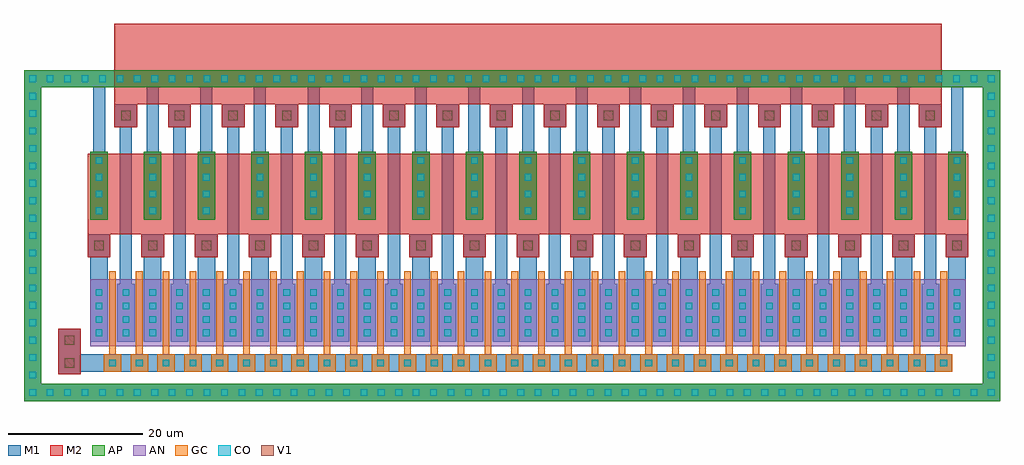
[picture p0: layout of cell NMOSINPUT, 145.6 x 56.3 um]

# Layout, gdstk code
from math import pi, radians
import gdstk
lib = gdstk.Library(unit=1e-6, precision=1e-09)
def R(c, l, rs):  # rectangles x0, y0, x1, y1
    for r in rs: c.add(gdstk.rectangle(r[:2], r[2:], *l))
def A(c, l, x, y, w, h, nx, ny, dx, dy):  # array of equal rectangles
    R(c, l, [(x+i*dx, y+j*dy, x+i*dx+w, y+j*dy+h) for i in range(nx) for j in range(ny)])
AP = (3, 1)
AN = (3, 2)
GC = (8, 1)
CO = (11, 0)
M1 = (13, 0)
V1 = (19, 0)
M2 = (20, 0)

fet_n = lib.new_cell('fet_n')
R(fet_n, AN, [(-65.3,-5,65.3,5)])
A(fet_n, CO, -64.5, -3.5, 1, 1, 33, 4, 4, 2)
A(fet_n, M1, -65.3, -4.3, 2.6, 8.6, 33, 1, 4, 0)
fet_n.add(gdstk.FlexPath([(2,-6.2),(2,6.2)], 1, ends="flush", simple_path=True, layer=8, datatype=1))  # GC
fet_n.add(gdstk.FlexPath([(-2,-6.2),(-2,6.2)], 1, ends="flush", simple_path=True, layer=8, datatype=1))  # GC
fet_n.add(gdstk.FlexPath([(6,-6.2),(6,6.2)], 1, ends="flush", simple_path=True, layer=8, datatype=1))  # GC
fet_n.add(gdstk.FlexPath([(-6,-6.2),(-6,6.2)], 1, ends="flush", simple_path=True, layer=8, datatype=1))  # GC
fet_n.add(gdstk.FlexPath([(10,-6.2),(10,6.2)], 1, ends="flush", simple_path=True, layer=8, datatype=1))  # GC
fet_n.add(gdstk.FlexPath([(-10,-6.2),(-10,6.2)], 1, ends="flush", simple_path=True, layer=8, datatype=1))  # GC
fet_n.add(gdstk.FlexPath([(14,-6.2),(14,6.2)], 1, ends="flush", simple_path=True, layer=8, datatype=1))  # GC
fet_n.add(gdstk.FlexPath([(-14,-6.2),(-14,6.2)], 1, ends="flush", simple_path=True, layer=8, datatype=1))  # GC
fet_n.add(gdstk.FlexPath([(18,-6.2),(18,6.2)], 1, ends="flush", simple_path=True, layer=8, datatype=1))  # GC
fet_n.add(gdstk.FlexPath([(-18,-6.2),(-18,6.2)], 1, ends="flush", simple_path=True, layer=8, datatype=1))  # GC
fet_n.add(gdstk.FlexPath([(22,-6.2),(22,6.2)], 1, ends="flush", simple_path=True, layer=8, datatype=1))  # GC
fet_n.add(gdstk.FlexPath([(-22,-6.2),(-22,6.2)], 1, ends="flush", simple_path=True, layer=8, datatype=1))  # GC
fet_n.add(gdstk.FlexPath([(26,-6.2),(26,6.2)], 1, ends="flush", simple_path=True, layer=8, datatype=1))  # GC
fet_n.add(gdstk.FlexPath([(-26,-6.2),(-26,6.2)], 1, ends="flush", simple_path=True, layer=8, datatype=1))  # GC
fet_n.add(gdstk.FlexPath([(30,-6.2),(30,6.2)], 1, ends="flush", simple_path=True, layer=8, datatype=1))  # GC
fet_n.add(gdstk.FlexPath([(-30,-6.2),(-30,6.2)], 1, ends="flush", simple_path=True, layer=8, datatype=1))  # GC
fet_n.add(gdstk.FlexPath([(34,-6.2),(34,6.2)], 1, ends="flush", simple_path=True, layer=8, datatype=1))  # GC
fet_n.add(gdstk.FlexPath([(-34,-6.2),(-34,6.2)], 1, ends="flush", simple_path=True, layer=8, datatype=1))  # GC
fet_n.add(gdstk.FlexPath([(38,-6.2),(38,6.2)], 1, ends="flush", simple_path=True, layer=8, datatype=1))  # GC
fet_n.add(gdstk.FlexPath([(-38,-6.2),(-38,6.2)], 1, ends="flush", simple_path=True, layer=8, datatype=1))  # GC
fet_n.add(gdstk.FlexPath([(42,-6.2),(42,6.2)], 1, ends="flush", simple_path=True, layer=8, datatype=1))  # GC
fet_n.add(gdstk.FlexPath([(-42,-6.2),(-42,6.2)], 1, ends="flush", simple_path=True, layer=8, datatype=1))  # GC
fet_n.add(gdstk.FlexPath([(46,-6.2),(46,6.2)], 1, ends="flush", simple_path=True, layer=8, datatype=1))  # GC
fet_n.add(gdstk.FlexPath([(-46,-6.2),(-46,6.2)], 1, ends="flush", simple_path=True, layer=8, datatype=1))  # GC
fet_n.add(gdstk.FlexPath([(50,-6.2),(50,6.2)], 1, ends="flush", simple_path=True, layer=8, datatype=1))  # GC
fet_n.add(gdstk.FlexPath([(-50,-6.2),(-50,6.2)], 1, ends="flush", simple_path=True, layer=8, datatype=1))  # GC
fet_n.add(gdstk.FlexPath([(54,-6.2),(54,6.2)], 1, ends="flush", simple_path=True, layer=8, datatype=1))  # GC
fet_n.add(gdstk.FlexPath([(-54,-6.2),(-54,6.2)], 1, ends="flush", simple_path=True, layer=8, datatype=1))  # GC
fet_n.add(gdstk.FlexPath([(58,-6.2),(58,6.2)], 1, ends="flush", simple_path=True, layer=8, datatype=1))  # GC
fet_n.add(gdstk.FlexPath([(-58,-6.2),(-58,6.2)], 1, ends="flush", simple_path=True, layer=8, datatype=1))  # GC
fet_n.add(gdstk.FlexPath([(62,-6.2),(62,6.2)], 1, ends="flush", simple_path=True, layer=8, datatype=1))  # GC
fet_n.add(gdstk.FlexPath([(-62,-6.2),(-62,6.2)], 1, ends="flush", simple_path=True, layer=8, datatype=1))  # GC

via_1 = lib.new_cell('via_1')
R(via_1, M1, [(-1.7,-1.7,1.7,1.7)])
R(via_1, V1, [(-0.7,-0.7,0.7,0.7)])
R(via_1, M2, [(-1.7,-1.7,1.7,1.7)])

cont_p = lib.new_cell('cont_p')
R(cont_p, AP, [(-1.3,-1.3,1.3,1.3)])
R(cont_p, CO, [(-0.5,-0.5,0.5,0.5)])
R(cont_p, M1, [(-1.3,-1.3,1.3,1.3)])

cont_g = lib.new_cell('cont_g')
R(cont_g, GC, [(-1.3,-1.3,1.3,1.3)])
R(cont_g, CO, [(-0.5,-0.5,0.5,0.5)])
R(cont_g, M1, [(-1.3,-1.3,1.3,1.3)])

nmosinput = lib.new_cell('NMOSINPUT')
nmosinput.add(gdstk.FlexPath([(21.8,14.8),(148.4,14.8)], 2.6, ends="flush", simple_path=True, layer=13, datatype=0))  # M1
nmosinput.add(gdstk.FlexPath([(21.1,26.6),(21.1,30.6)], 2.6, ends="flush", simple_path=True, layer=13, datatype=0))  # M1
nmosinput.add(gdstk.FlexPath([(29.1,26.6),(29.1,30.6)], 2.6, ends="flush", simple_path=True, layer=13, datatype=0))  # M1
nmosinput.add(gdstk.FlexPath([(37.1,26.6),(37.1,30.6)], 2.6, ends="flush", simple_path=True, layer=13, datatype=0))  # M1
nmosinput.add(gdstk.FlexPath([(45.1,26.6),(45.1,30.6)], 2.6, ends="flush", simple_path=True, layer=13, datatype=0))  # M1
nmosinput.add(gdstk.FlexPath([(53.1,26.6),(53.1,30.6)], 2.6, ends="flush", simple_path=True, layer=13, datatype=0))  # M1
nmosinput.add(gdstk.FlexPath([(61.1,26.6),(61.1,30.6)], 2.6, ends="flush", simple_path=True, layer=13, datatype=0))  # M1
nmosinput.add(gdstk.FlexPath([(69.1,26.6),(69.1,30.6)], 2.6, ends="flush", simple_path=True, layer=13, datatype=0))  # M1
nmosinput.add(gdstk.FlexPath([(77.1,26.6),(77.1,30.6)], 2.6, ends="flush", simple_path=True, layer=13, datatype=0))  # M1
nmosinput.add(gdstk.FlexPath([(85.1,26.6),(85.1,30.6)], 2.6, ends="flush", simple_path=True, layer=13, datatype=0))  # M1
nmosinput.add(gdstk.FlexPath([(93.1,26.6),(93.1,30.6)], 2.6, ends="flush", simple_path=True, layer=13, datatype=0))  # M1
nmosinput.add(gdstk.FlexPath([(101.1,26.6),(101.1,30.6)], 2.6, ends="flush", simple_path=True, layer=13, datatype=0))  # M1
nmosinput.add(gdstk.FlexPath([(109.1,26.6),(109.1,30.6)], 2.6, ends="flush", simple_path=True, layer=13, datatype=0))  # M1
nmosinput.add(gdstk.FlexPath([(117.1,26.6),(117.1,30.6)], 2.6, ends="flush", simple_path=True, layer=13, datatype=0))  # M1
nmosinput.add(gdstk.FlexPath([(125.1,26.6),(125.1,30.6)], 2.6, ends="flush", simple_path=True, layer=13, datatype=0))  # M1
nmosinput.add(gdstk.FlexPath([(133.1,26.6),(133.1,30.6)], 2.6, ends="flush", simple_path=True, layer=13, datatype=0))  # M1
nmosinput.add(gdstk.FlexPath([(141.1,26.6),(141.1,30.6)], 2.6, ends="flush", simple_path=True, layer=13, datatype=0))  # M1
nmosinput.add(gdstk.FlexPath([(149.1,26.6),(149.1,30.6)], 2.6, ends="flush", simple_path=True, layer=13, datatype=0))  # M1
nmosinput.add(gdstk.FlexPath([(25.1,26.6),(25.1,50)], 1.8, ends="flush", simple_path=True, layer=13, datatype=0))  # M1
nmosinput.add(gdstk.FlexPath([(33.1,26.6),(33.1,50)], 1.8, ends="flush", simple_path=True, layer=13, datatype=0))  # M1
nmosinput.add(gdstk.FlexPath([(41.1,26.6),(41.1,50)], 1.8, ends="flush", simple_path=True, layer=13, datatype=0))  # M1
nmosinput.add(gdstk.FlexPath([(49.1,26.6),(49.1,50)], 1.8, ends="flush", simple_path=True, layer=13, datatype=0))  # M1
nmosinput.add(gdstk.FlexPath([(57.1,26.6),(57.1,50)], 1.8, ends="flush", simple_path=True, layer=13, datatype=0))  # M1
nmosinput.add(gdstk.FlexPath([(65.1,26.6),(65.1,50)], 1.8, ends="flush", simple_path=True, layer=13, datatype=0))  # M1
nmosinput.add(gdstk.FlexPath([(73.1,26.6),(73.1,50)], 1.8, ends="flush", simple_path=True, layer=13, datatype=0))  # M1
nmosinput.add(gdstk.FlexPath([(81.1,26.6),(81.1,50)], 1.8, ends="flush", simple_path=True, layer=13, datatype=0))  # M1
nmosinput.add(gdstk.FlexPath([(89.1,26.6),(89.1,50)], 1.8, ends="flush", simple_path=True, layer=13, datatype=0))  # M1
nmosinput.add(gdstk.FlexPath([(97.1,26.6),(97.1,50)], 1.8, ends="flush", simple_path=True, layer=13, datatype=0))  # M1
nmosinput.add(gdstk.FlexPath([(105.1,26.6),(105.1,50)], 1.8, ends="flush", simple_path=True, layer=13, datatype=0))  # M1
nmosinput.add(gdstk.FlexPath([(113.1,26.6),(113.1,50)], 1.8, ends="flush", simple_path=True, layer=13, datatype=0))  # M1
nmosinput.add(gdstk.FlexPath([(121.1,26.6),(121.1,50)], 1.8, ends="flush", simple_path=True, layer=13, datatype=0))  # M1
nmosinput.add(gdstk.FlexPath([(129.1,26.6),(129.1,50)], 1.8, ends="flush", simple_path=True, layer=13, datatype=0))  # M1
nmosinput.add(gdstk.FlexPath([(137.1,26.6),(137.1,50)], 1.8, ends="flush", simple_path=True, layer=13, datatype=0))  # M1
nmosinput.add(gdstk.FlexPath([(145.1,26.6),(145.1,50)], 1.8, ends="flush", simple_path=True, layer=13, datatype=0))  # M1
nmosinput.add(gdstk.FlexPath([(21.8,14.8),(18.4,14.8)], 2.6, ends="flush", simple_path=True, layer=13, datatype=0))  # M1
nmosinput.add(gdstk.FlexPath([(21.1,43.8),(21.1,55.9)], 1.8, ends="flush", simple_path=True, layer=13, datatype=0))  # M1
nmosinput.add(gdstk.FlexPath([(29.1,43.8),(29.1,55.9)], 1.8, ends="flush", simple_path=True, layer=13, datatype=0))  # M1
nmosinput.add(gdstk.FlexPath([(37.1,43.8),(37.1,55.9)], 1.8, ends="flush", simple_path=True, layer=13, datatype=0))  # M1
nmosinput.add(gdstk.FlexPath([(45.1,43.8),(45.1,55.9)], 1.8, ends="flush", simple_path=True, layer=13, datatype=0))  # M1
nmosinput.add(gdstk.FlexPath([(53.1,43.8),(53.1,55.9)], 1.8, ends="flush", simple_path=True, layer=13, datatype=0))  # M1
nmosinput.add(gdstk.FlexPath([(61.1,43.8),(61.1,55.9)], 1.8, ends="flush", simple_path=True, layer=13, datatype=0))  # M1
nmosinput.add(gdstk.FlexPath([(69.1,43.8),(69.1,55.9)], 1.8, ends="flush", simple_path=True, layer=13, datatype=0))  # M1
nmosinput.add(gdstk.FlexPath([(77.1,43.8),(77.1,55.9)], 1.8, ends="flush", simple_path=True, layer=13, datatype=0))  # M1
nmosinput.add(gdstk.FlexPath([(85.1,43.8),(85.1,55.9)], 1.8, ends="flush", simple_path=True, layer=13, datatype=0))  # M1
nmosinput.add(gdstk.FlexPath([(93.1,43.8),(93.1,55.9)], 1.8, ends="flush", simple_path=True, layer=13, datatype=0))  # M1
nmosinput.add(gdstk.FlexPath([(101.1,43.8),(101.1,55.9)], 1.8, ends="flush", simple_path=True, layer=13, datatype=0))  # M1
nmosinput.add(gdstk.FlexPath([(109.1,43.8),(109.1,55.9)], 1.8, ends="flush", simple_path=True, layer=13, datatype=0))  # M1
nmosinput.add(gdstk.FlexPath([(117.1,43.8),(117.1,55.9)], 1.8, ends="flush", simple_path=True, layer=13, datatype=0))  # M1
nmosinput.add(gdstk.FlexPath([(125.1,43.8),(125.1,55.9)], 1.8, ends="flush", simple_path=True, layer=13, datatype=0))  # M1
nmosinput.add(gdstk.FlexPath([(133.1,43.8),(133.1,55.9)], 1.8, ends="flush", simple_path=True, layer=13, datatype=0))  # M1
nmosinput.add(gdstk.FlexPath([(141.1,43.8),(141.1,55.9)], 1.8, ends="flush", simple_path=True, layer=13, datatype=0))  # M1
nmosinput.add(gdstk.FlexPath([(149.1,43.8),(149.1,55.9)], 1.8, ends="flush", simple_path=True, layer=13, datatype=0))  # M1
nmosinput.add(gdstk.FlexPath([(19.4,40),(150.8,40),(150.8,40)], 12, ends="flush", simple_path=True, layer=20, datatype=0))  # M2
nmosinput.add(gdstk.FlexPath([(23.4,59.4),(146.8,59.4)], 12, ends="flush", simple_path=True, layer=20, datatype=0))  # M2
nmosinput.add(gdstk.Reference(fet_n, (85.1,22.3)))
r = gdstk.Reference(via_1, (21.1,32.3)); r.repetition = gdstk.Repetition(17, 1, v1=(8,0), v2=(0,0)); nmosinput.add(r)
r = gdstk.Reference(cont_p, (11.2,10.4), rotation=pi, x_reflection=True); r.repetition = gdstk.Repetition(1, 19, v1=(0,0), v2=(0,2.6)); nmosinput.add(r)
r = gdstk.Reference(via_1, (25.1,51.7)); r.repetition = gdstk.Repetition(16, 1, v1=(8,0), v2=(0,0)); nmosinput.add(r)
r = gdstk.Reference(cont_g, (23.1,14.8)); r.repetition = gdstk.Repetition(32, 1, v1=(4,0), v2=(0,0)); nmosinput.add(r)
r = gdstk.Reference(via_1, (16.7,14.8)); r.repetition = gdstk.Repetition(1, 2, v1=(0,0), v2=(0,3.4)); nmosinput.add(r)
r = gdstk.Reference(cont_p, (154.2,10.4), rotation=pi); r.repetition = gdstk.Repetition(56, 1, v1=(-2.6,0), v2=(0,0)); nmosinput.add(r)
r = gdstk.Reference(cont_p, (154.2,57.2), rotation=pi); r.repetition = gdstk.Repetition(56, 1, v1=(-2.6,0), v2=(0,0)); nmosinput.add(r)
r = gdstk.Reference(cont_p, (154.2,10.4), rotation=pi, x_reflection=True); r.repetition = gdstk.Repetition(1, 19, v1=(0,0), v2=(0,2.6)); nmosinput.add(r)
r = gdstk.Reference(cont_p, (21.1,37.5)); r.repetition = gdstk.Repetition(17, 4, v1=(8,0), v2=(0,2.5)); nmosinput.add(r)

lib.write_gds('NMOSINPUT.gds')
